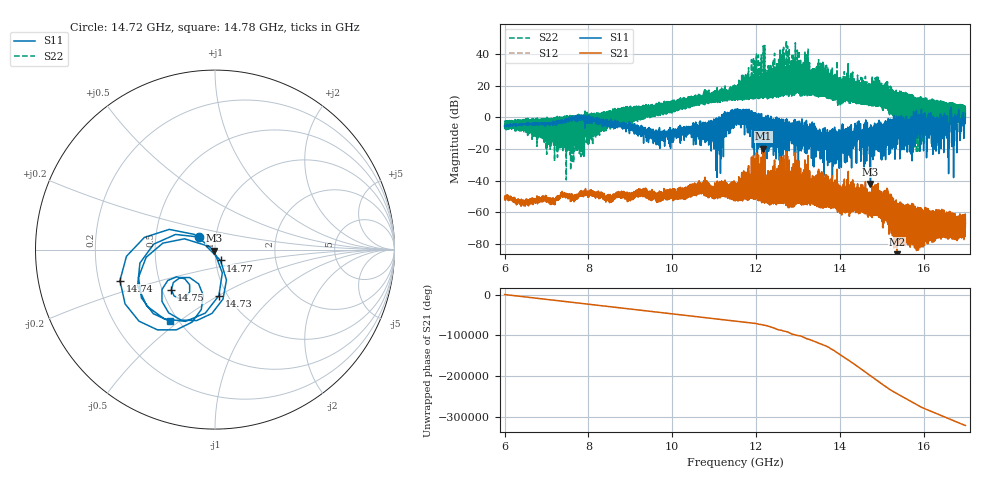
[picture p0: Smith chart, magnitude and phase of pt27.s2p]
#  HZ  S  RI  R  50.00
! Rohde & Schwarz Vector Network Analyzer
! Rohde-Schwarz,ZNA67-2Port,1332450062101215,3.01
! Created: UTC 10/15/2026, 3:16:11 PM
! freq[Hz]  re:S11  im:S11  re:S21  im:S21  re:S12  im:S12  re:S22  im:S22
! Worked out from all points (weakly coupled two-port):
!   11001 points, 6 GHz to 17 GHz, reference 50 ohm
!   highest |S21| = -19.65 dB at 12.18 GHz (marker M1); lowest = -87.1 dB at 15.37 GHz (marker M2)
!   lowest |S11| = -42.0 dB at 14.73 GHz (marker M3), VSWR 1.02, Z = 49.4 - j0.496 ohm
!   |S11| at or under -10 dB: 13.65208 GHz to 13.70162 GHz (49.54 MHz wide, 0.362 % of centre); 13.72013 GHz to 13.76943 GHz (49.3 MHz wide, 0.359 % of centre); 14.08071 GHz to 14.12741 GHz (46.71 MHz wide, 0.331 % of centre) (the widest 3 of 480)
!   |S22| runs from -39.4 to 48.7 dB; largest |S21 - S12| = 0.0046
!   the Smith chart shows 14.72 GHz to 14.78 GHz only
!   S11 on the Smith chart (normalised r, x): 14.72 GHz: 0.83, +0.12; 14.73 GHz: 0.91, -0.50; 14.74 GHz: 0.29, -0.15; 14.75 GHz: 0.56, -0.28; 14.77 GHz: 1.06, -0.13; 14.78 GHz: 0.45, -0.47
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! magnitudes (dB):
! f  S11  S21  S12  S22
! 6 GHz  -5.3  -50.9  -50.9  -4.9
! 7.15 GHz  -3.0  -52.7  -52.4  -0.9
! 7.834 GHz  -0.5  -49.5  -49.4  -20.3
! 9.667 GHz  -10.6  -52.1  -52.3  1.5
! 11.05 GHz  -0.4  -43.3  -43.4  14.9
! 11.5 GHz  4.8  -50.8  -51.0  12.1
! 12.18 GHz  -5.0  -19.6  -19.5  45.3
! 13.33 GHz  -6.5  -50.6  -50.6  18.4
! 13.81 GHz  -14.1  -44.6  -44.5  22.7
! 14.46 GHz  -2.4  -44.5  -44.6  23.3
! 14.72 GHz  -18.9  -58.8  -58.6  11.6
! 14.73 GHz  -11.8  -58.4  -58.0  11.4
! 14.73 GHz  -42.0  -60.0  -59.8  12.2
! 14.74 GHz  -5.1  -59.5  -59.2  9.9
! 14.75 GHz  -9.6  -57.7  -58.0  10.8
! 14.77 GHz  -23.4  -59.3  -59.0  11.5
! 14.78 GHz  -6.5  -49.0  -48.9  18.9
! 15.17 GHz  -9.4  -64.6  -64.6  5.5
! 15.37 GHz  -10.0  -87.1  -87.2  -0.3
! 15.8 GHz  -2.0  -57.0  -57.7  12.0
! 16.57 GHz  0.8  -74.7  -74.5  -4.0
! 17 GHz  2.7  -69.0  -69.0  2.0
